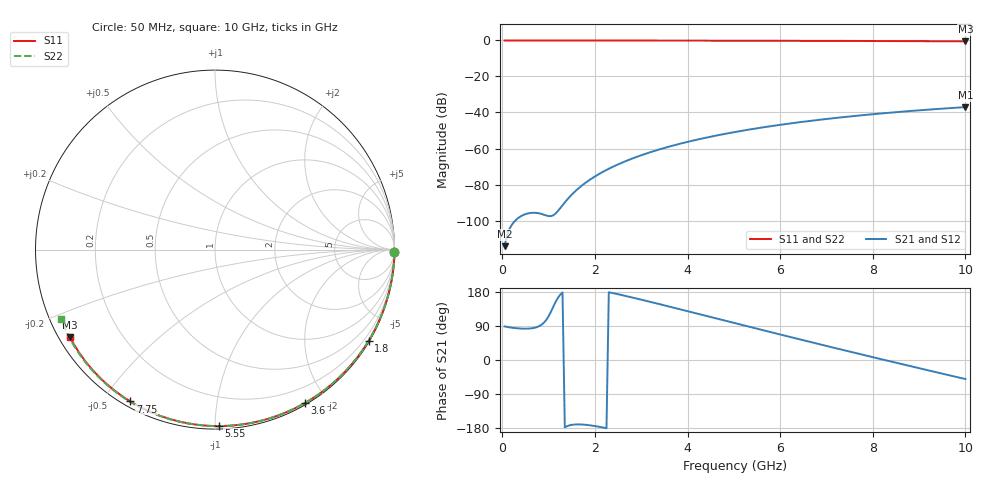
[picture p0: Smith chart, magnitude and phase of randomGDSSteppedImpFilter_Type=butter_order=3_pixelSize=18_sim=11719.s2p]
! freq	dB(S11)	phase(S11)	dB(S12)	phase(S12)
!  dB(S21)	phase(S21)	dB(S22)	phase(S22)
!S-par simulation data
#  GHz  S  DB  R 50
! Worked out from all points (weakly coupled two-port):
!   200 points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, 50 MHz to 10 GHz, reference 50 ohm
!   highest |S21| = -37.01 dB at 10 GHz (marker M1); lowest = -114.2 dB at 50 MHz (marker M2)
!   lowest |S11| = -0.5 dB at 10 GHz (marker M3), VSWR 34.61, Z = 1.56 - j13.9 ohm
!   |S11| at or under -10 dB: nowhere
!   |S22| runs from -0.5 to 0.0 dB; largest |S21 - S12| = 0
!   S11 on the Smith chart (normalised r, x): 50 MHz: open; 1.8 GHz: 0.03, -3.65; 3.6 GHz: 0.02, -1.74; 5.55 GHz: 0.02, -1.02; 7.75 GHz: 0.02, -0.59; 10 GHz: 0.03, -0.28
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0.05  -0.00 -0.9  -114.23 88.6  -114.23 88.6  -0.00 -0.9
0.45  -0.01 -7.8  -96.96 82.7  -96.96 82.7  -0.01 -8.1
0.9  -0.02 -15.5  -96.78 98.6  -96.78 98.6  -0.02 -16.2
1.3  -0.03 -22.2  -91.50 178.1  -91.50 178.1  -0.03 -23.2
1.75  -0.04 -29.8  -79.94 -170.5  -79.94 -170.5  -0.04 -31.1
1.8  -0.04 -30.6  -78.97 -171.0  -78.97 -171.0  -0.04 -32.0
1.95  -0.04 -33.1  -76.33 -173.3  -76.33 -173.3  -0.04 -34.6
2.1  -0.05 -35.6  -74.00 -176.4  -74.00 -176.4  -0.05 -37.1
2.3  -0.05 -38.9  -71.24 178.8  -71.24 178.8  -0.05 -40.6
2.5  -0.05 -42.1  -68.82 173.6  -68.82 173.6  -0.06 -44.0
2.9  -0.06 -48.6  -64.67 162.2  -64.67 162.2  -0.07 -50.7
3.4  -0.08 -56.5  -60.44 147.3  -60.44 147.3  -0.08 -59.0
3.6  -0.08 -59.7  -58.97 141.2  -58.97 141.2  -0.08 -62.2
4.3  -0.10 -70.4  -54.54 119.6  -54.54 119.6  -0.10 -73.4
5.05  -0.13 -81.6  -50.72 96.4  -50.72 96.4  -0.13 -85.0
5.55  -0.15 -88.8  -48.57 81.0  -48.57 81.0  -0.15 -92.6
6.1  -0.17 -96.6  -46.49 64.2  -46.49 64.2  -0.18 -100.7
6.7  -0.20 -105.0  -44.50 46.1  -44.50 46.1  -0.21 -109.4
7.75  -0.28 -119.2  -41.57 14.8  -41.57 14.8  -0.29 -124.2
8.35  -0.33 -127.1  -40.15 -2.8  -40.15 -2.8  -0.34 -132.6
9.2  -0.41 -138.3  -38.41 -27.4  -38.41 -27.4  -0.43 -144.4
10  -0.50 -148.9  -37.01 -50.3  -37.01 -50.3  -0.52 -155.7
